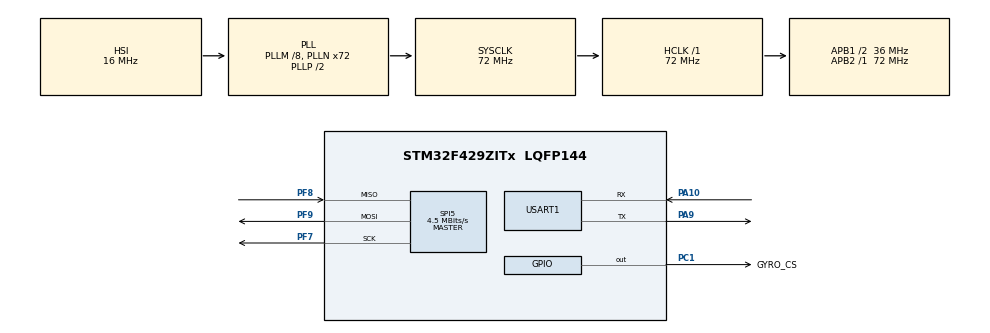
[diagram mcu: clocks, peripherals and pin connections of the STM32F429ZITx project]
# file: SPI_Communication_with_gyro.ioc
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Mcu.Family=STM32F4
Mcu.Name=STM32F429ZITx
Mcu.Package=LQFP144
NVIC.PriorityGroup=NVIC_PRIORITYGROUP_4
PA10.Mode=Asynchronous
PA10.Signal=USART1_RX
PA9.Mode=Asynchronous
PA9.Signal=USART1_TX
PC1.GPIO_Label=GYRO_CS
PC1.GPIO_Speed=GPIO_SPEED_FREQ_VERY_HIGH
PC1.Signal=GPIO_Output
PF7.Mode=Full_Duplex_Master
PF7.Signal=SPI5_SCK
PF8.Mode=Full_Duplex_Master
PF8.Signal=SPI5_MISO
PF9.Mode=Full_Duplex_Master
PF9.Signal=SPI5_MOSI
ProjectManager.HeapSize=0x200
ProjectManager.StackSize=0x400
ProjectManager.TargetToolchain=STM32CubeIDE
RCC.48MHZClocksFreq_Value=48000000
RCC.AHBFreq_Value=72000000
RCC.APB1CLKDivider=RCC_HCLK_DIV2
RCC.APB1Freq_Value=36000000
RCC.APB1TimFreq_Value=72000000
RCC.APB2Freq_Value=72000000
RCC.APB2TimFreq_Value=72000000
RCC.CortexFreq_Value=72000000
RCC.HCLKFreq_Value=72000000
RCC.HSE_VALUE=8000000
RCC.HSI_VALUE=16000000
RCC.LSE_VALUE=32768
RCC.PLLM=8
RCC.PLLN=72
RCC.PLLQ=3
RCC.PLLSAIN=50
RCC.SYSCLKFreq_VALUE=72000000
RCC.SYSCLKSource=RCC_SYSCLKSOURCE_PLLCLK
RCC.VCOOutputFreq_Value=144000000
SPI5.BaudRatePrescaler=SPI_BAUDRATEPRESCALER_16
SPI5.CLKPhase=SPI_PHASE_2EDGE
SPI5.CLKPolarity=SPI_POLARITY_HIGH
SPI5.CalculateBaudRate=4.5 MBits/s
SPI5.Direction=SPI_DIRECTION_2LINES
SPI5.Mode=SPI_MODE_MASTER
SPI5.VirtualType=VM_MASTER
USART1.VirtualMode=VM_ASYNC
board=STM32F429I-DISC1

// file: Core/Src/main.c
/* USER CODE BEGIN Header */
/**
  ******************************************************************************
  * @file           : main.c
  * @brief          : Main program body
  ******************************************************************************
  * @attention
  *
  * Copyright (c) 2026 STMicroelectronics.
  * All rights reserved.
  *
  * This software is licensed under terms that can be found in the LICENSE file
  * in the root directory of this software component.
  * If no LICENSE file comes with this software, it is provided AS-IS.
  *
  ******************************************************************************
  */
/* USER CODE END Header */
#include "main.h"

/* USER CODE BEGIN Includes */
#include "l3gd20.h"
#include "stdio.h"
/* USER CODE END Includes */

SPI_HandleTypeDef hspi5;

UART_HandleTypeDef huart1;

void SystemClock_Config(void);
static void MX_GPIO_Init(void);
static void MX_SPI5_Init(void);
static void MX_USART1_UART_Init(void);

/* USER CODE BEGIN 0 */
int _write(int file,char* ptr, int len){
	HAL_UART_Transmit(&huart1, (uint8_t*)ptr, len, HAL_MAX_DELAY);
	return len;
}

/* USER CODE END 0 */

int main(void)
{

  /* MCU Configuration--------------------------------------------------------*/

  /* Reset of all peripherals, Initializes the Flash interface and the Systick. */
  HAL_Init();

  /* Configure the system clock */
  SystemClock_Config();

  /* Initialize all configured peripherals */
  MX_GPIO_Init();
  MX_SPI5_Init();
  MX_USART1_UART_Init();
  /* USER CODE BEGIN 2 */
//uint8_t who;
//who=L3GD20_ReadReg(L3GD20_WHO_AM_I);
//printf("who_am_i=0x%02X\r\n",who);
  L3GD20_Data_t gyro;
  L3GD20_Init();
  L3GD20_SetHPF(0x00);
  L3GD20_EnableHPF();
  uint8_t who;
  	  who=L3GD20_ReadReg(L3GD20_WHO_AM_I);
  	  printf("who_am_i=0x%02X\r\n",who);
  	  HAL_Delay(500);
  /* USER CODE END 2 */

  /* Infinite loop */
  /* USER CODE BEGIN WHILE */
  	printf("CTRL1 = %02X\r\n", L3GD20_ReadReg(0x20));
  	printf("CTRL2 = %02X\r\n", L3GD20_ReadReg(0x21));
  	printf("CTRL3 = %02X\r\n", L3GD20_ReadReg(0x22));
  	printf("CTRL4 = %02X\r\n", L3GD20_ReadReg(0x23));
  	printf("CTRL5 = %02X\r\n", L3GD20_ReadReg(0x24));
  	printf("REFERENCE = %02X\r\n", L3GD20_ReadReg(0x25));
  while (1)
  {

//
	  for (uint8_t reg = 0x0F; reg <= 0x2F; reg++)
	  {
	      printf("%02X : %02X\r\n", reg, L3GD20_ReadReg(reg));
	  }
	  ;

	  L3GD20_ReadXYZ(&gyro);

	  printf("X=%6d    Y=%6d   Z=%6d\r\n",gyro.x,gyro.y,gyro.z);

	  HAL_Delay(1500);

    /* USER CODE END WHILE */

  }
}

void SystemClock_Config(void)
{
  RCC_OscInitTypeDef RCC_OscInitStruct = {0};
  RCC_ClkInitTypeDef RCC_ClkInitStruct = {0};

  /** Configure the main internal regulator output voltage
  */
  __HAL_RCC_PWR_CLK_ENABLE();
  __HAL_PWR_VOLTAGESCALING_CONFIG(PWR_REGULATOR_VOLTAGE_SCALE3);

  /** Initializes the RCC Oscillators according to the specified parameters
  * in the RCC_OscInitTypeDef structure.
  */
  RCC_OscInitStruct.OscillatorType = RCC_OSCILLATORTYPE_HSI;
  RCC_OscInitStruct.HSIState = RCC_HSI_ON;
  RCC_OscInitStruct.HSICalibrationValue = RCC_HSICALIBRATION_DEFAULT;
  RCC_OscInitStruct.PLL.PLLState = RCC_PLL_ON;
  RCC_OscInitStruct.PLL.PLLSource = RCC_PLLSOURCE_HSI;
  RCC_OscInitStruct.PLL.PLLM = 8;
  RCC_OscInitStruct.PLL.PLLN = 72;
  RCC_OscInitStruct.PLL.PLLP = RCC_PLLP_DIV2;
  RCC_OscInitStruct.PLL.PLLQ = 3;
  if (HAL_RCC_OscConfig(&RCC_OscInitStruct) != HAL_OK)
  {
    Error_Handler();
  }

  /** Initializes the CPU, AHB and APB buses clocks
  */
  RCC_ClkInitStruct.ClockType = RCC_CLOCKTYPE_HCLK|RCC_CLOCKTYPE_SYSCLK
                              |RCC_CLOCKTYPE_PCLK1|RCC_CLOCKTYPE_PCLK2;
  RCC_ClkInitStruct.SYSCLKSource = RCC_SYSCLKSOURCE_PLLCLK;
  RCC_ClkInitStruct.AHBCLKDivider = RCC_SYSCLK_DIV1;
  RCC_ClkInitStruct.APB1CLKDivider = RCC_HCLK_DIV2;
  RCC_ClkInitStruct.APB2CLKDivider = RCC_HCLK_DIV1;

  if (HAL_RCC_ClockConfig(&RCC_ClkInitStruct, FLASH_LATENCY_2) != HAL_OK)
  {
    Error_Handler();
  }
}

static void MX_SPI5_Init(void)
{

  /* SPI5 parameter configuration*/
  hspi5.Instance = SPI5;
  hspi5.Init.Mode = SPI_MODE_MASTER;
  hspi5.Init.Direction = SPI_DIRECTION_2LINES;
  hspi5.Init.DataSize = SPI_DATASIZE_8BIT;
  hspi5.Init.CLKPolarity = SPI_POLARITY_HIGH;
  hspi5.Init.CLKPhase = SPI_PHASE_2EDGE;
  hspi5.Init.NSS = SPI_NSS_SOFT;
  hspi5.Init.BaudRatePrescaler = SPI_BAUDRATEPRESCALER_16;
  hspi5.Init.FirstBit = SPI_FIRSTBIT_MSB;
  hspi5.Init.TIMode = SPI_TIMODE_DISABLE;
  hspi5.Init.CRCCalculation = SPI_CRCCALCULATION_DISABLE;
  hspi5.Init.CRCPolynomial = 10;
  if (HAL_SPI_Init(&hspi5) != HAL_OK)
  {
    Error_Handler();
  }

}

static void MX_USART1_UART_Init(void)
{

  huart1.Instance = USART1;
  huart1.Init.BaudRate = 115200;
  huart1.Init.WordLength = UART_WORDLENGTH_8B;
  huart1.Init.StopBits = UART_STOPBITS_1;
  huart1.Init.Parity = UART_PARITY_NONE;
  huart1.Init.Mode = UART_MODE_TX_RX;
  huart1.Init.HwFlowCtl = UART_HWCONTROL_NONE;
  huart1.Init.OverSampling = UART_OVERSAMPLING_16;
  if (HAL_UART_Init(&huart1) != HAL_OK)
  {
    Error_Handler();
  }

}

static void MX_GPIO_Init(void)
{
  GPIO_InitTypeDef GPIO_InitStruct = {0};

  /* GPIO Ports Clock Enable */
  __HAL_RCC_GPIOF_CLK_ENABLE();
  __HAL_RCC_GPIOC_CLK_ENABLE();
  __HAL_RCC_GPIOA_CLK_ENABLE();

  /*Configure GPIO pin Output Level */
  HAL_GPIO_WritePin(GYRO_CS_GPIO_Port, GYRO_CS_Pin, GPIO_PIN_RESET);

  /*Configure GPIO pin : GYRO_CS_Pin */
  GPIO_InitStruct.Pin = GYRO_CS_Pin;
  GPIO_InitStruct.Mode = GPIO_MODE_OUTPUT_PP;
  GPIO_InitStruct.Pull = GPIO_NOPULL;
  GPIO_InitStruct.Speed = GPIO_SPEED_FREQ_VERY_HIGH;
  HAL_GPIO_Init(GYRO_CS_GPIO_Port, &GPIO_InitStruct);

}

void Error_Handler(void)
{
  __disable_irq();
  while (1)
  {
  }
}
